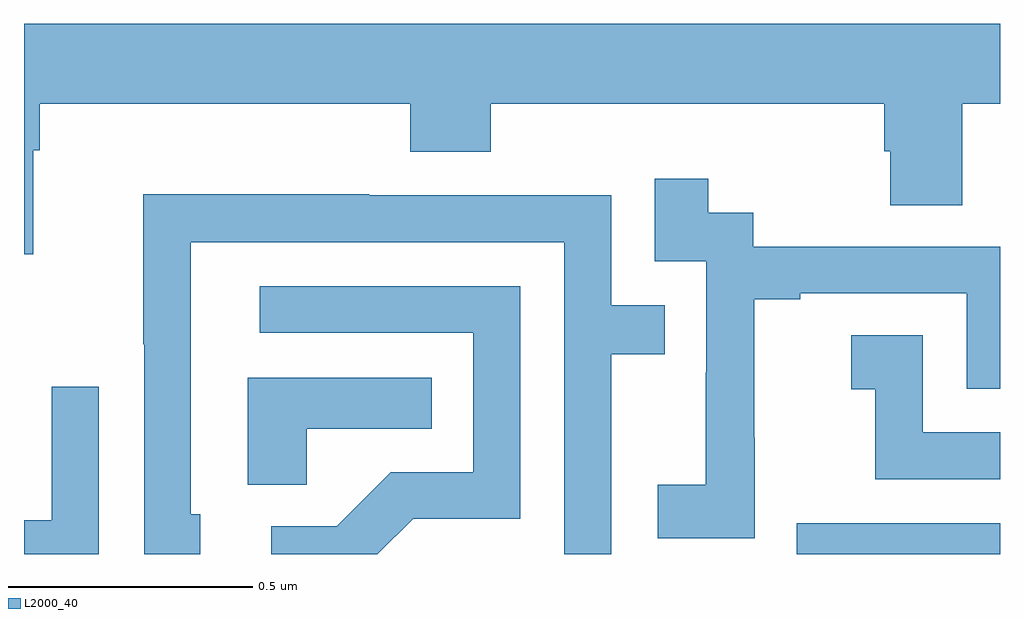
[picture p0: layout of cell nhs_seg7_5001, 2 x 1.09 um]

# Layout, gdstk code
import gdstk
lib = gdstk.Library(unit=1e-6, precision=1e-09)
def R(c, l, rs):  # rectangles x0, y0, x1, y1
    for r in rs: c.add(gdstk.rectangle(r[:2], r[2:], *l))
def P(c, l, *ps):  # polygons
    for p in ps: c.add(gdstk.Polygon(p, *l))
L2000_40 = (2000, 40)

nhs_seg7_5001 = lib.new_cell('nhs_seg7_5001')
R(nhs_seg7_5001, L2000_40, [(181.584,1025,182,1025.064)])
P(nhs_seg7_5001, L2000_40, [(180,1025.615),(180.019,1025.615),(180.019,1025.828),(180.032,1025.828),(180.032,1025.924),(180.791,1025.924),(180.791,1025.825),(180.956,1025.825),(180.956,1025.924),(181.763,1025.924),(181.763,1025.826),(181.775,1025.826),(181.775,1025.716),(181.923,1025.716),(181.923,1025.924),(182,1025.924),(182,1026.088),(180,1026.088)],
  [(181.497,1025.239),(181.496,1025.239),(181.496,1025.523),(181.591,1025.523),(181.591,1025.535),(181.932,1025.535),(181.932,1025.34),(182,1025.34),(182,1025.631),(181.494,1025.631),(181.494,1025.7),(181.402,1025.7),(181.402,1025.77),(181.293,1025.77),(181.293,1025.601),(181.398,1025.601),(181.398,1025.372),(181.397,1025.372),(181.397,1025.143),(181.299,1025.143),(181.299,1025.033),(181.497,1025.033)],
  [(180.361,1025.082),(180.342,1025.082),(180.342,1025.64),(181.107,1025.64),(181.107,1025),(181.203,1025),(181.203,1025.41),(181.313,1025.41),(181.313,1025.511),(181.203,1025.511),(181.203,1025.736),(180.707,1025.736),(180.707,1025.738),(180.244,1025.738),(180.244,1025.431),(180.246,1025.431),(180.246,1025),(180.361,1025)],
  [(180.798,1025.073),(181.017,1025.073),(181.017,1025.55),(180.483,1025.55),(180.483,1025.454),(180.921,1025.454),(180.921,1025.169),(180.752,1025.169),(180.641,1025.058),(180.507,1025.058),(180.507,1025),(180.724,1025)],
  [(182,1025.25),(181.842,1025.25),(181.842,1025.449),(181.695,1025.449),(181.695,1025.339),(181.744,1025.339),(181.744,1025.154),(182,1025.154)],
  [(180.579,1025.258),(180.836,1025.258),(180.836,1025.362),(180.458,1025.362),(180.458,1025.143),(180.579,1025.143)],
  [(180.153,1025.344),(180.057,1025.344),(180.057,1025.07),(180,1025.07),(180,1025),(180.153,1025)])

lib.write_gds('nhs_seg7_5001.gds')
